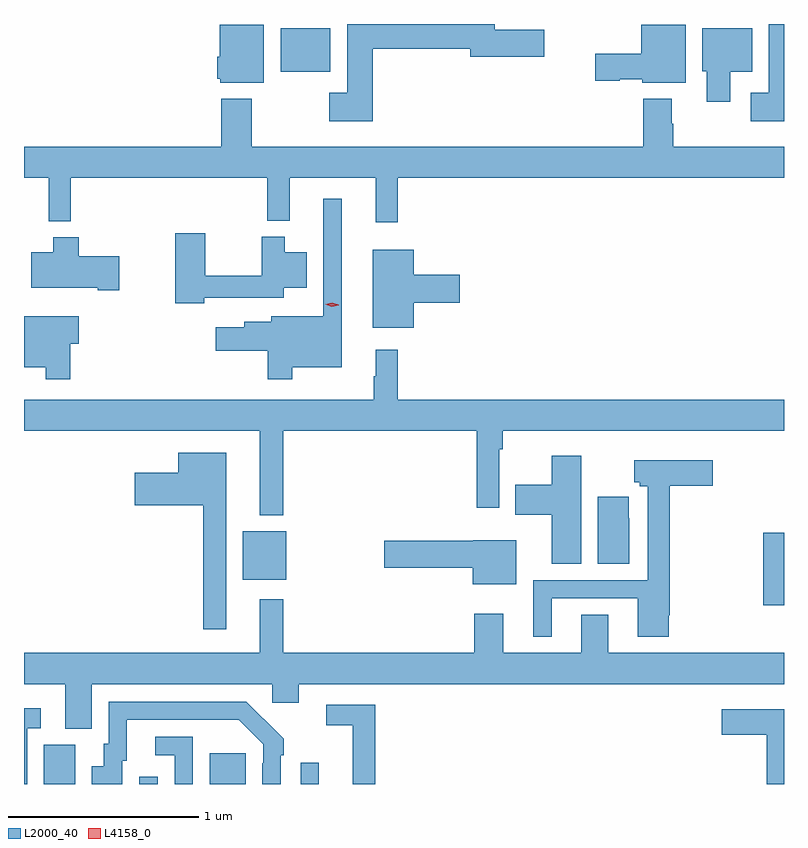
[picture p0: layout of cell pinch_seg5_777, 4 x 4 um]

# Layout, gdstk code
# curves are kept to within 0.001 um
import gdstk
lib = gdstk.Library(unit=1e-6, precision=1e-09)
def R(c, l, rs):  # rectangles x0, y0, x1, y1
    for r in rs: c.add(gdstk.rectangle(r[:2], r[2:], *l))
def P(c, l, *ps):  # polygons
    for p in ps: c.add(gdstk.Polygon(p, *l))
L2000_40 = (2000, 40)
L4158_0 = (4158, 0)

pinch_seg5_777 = lib.new_cell('pinch_seg5_777')
R(pinch_seg5_777, L2000_40, [(794.912,893.53,795.076,893.736), (795.414,893.53,795.51,893.569), (795.785,893.53,795.973,893.692), (796.263,893.53,796.359,893.641), (798.698,894.471,798.807,894.852), (795.959,894.605,796.186,894.859), (796.157,897.278,796.42,897.508)])
P(pinch_seg5_777, L2000_40, [(796.643,897.4),(797.156,897.4),(797.156,897.358),(797.545,897.358),(797.545,897.5),(797.284,897.5),(797.284,897.53),(796.508,897.53),(796.508,897.169),(796.413,897.169),(796.413,897.017),(796.643,897.017)],
  [(798.807,897.53),(798.728,897.53),(798.728,897.169),(798.633,897.169),(798.633,897.017),(798.807,897.017)],
  [(798.289,897.526),(798.056,897.526),(798.056,897.374),(797.814,897.374),(797.814,897.232),(797.943,897.232),(797.943,897.239),(798.06,897.239),(798.06,897.221),(798.289,897.221)],
  [(796.069,897.526),(795.836,897.526),(795.836,897.357),(795.824,897.357),(795.824,897.243),(795.84,897.243),(795.84,897.221),(796.069,897.221)],
  [(798.523,897.278),(798.64,897.278),(798.64,897.508),(798.377,897.508),(798.377,897.282),(798.401,897.282),(798.401,897.12),(798.523,897.12)],
  [(796.775,896.72),(798.807,896.72),(798.807,896.884),(798.225,896.884),(798.225,897.005),(798.217,897.005),(798.217,897.136),(798.065,897.136),(798.065,896.884),(796.005,896.884),(796.005,897.136),(795.845,897.136),(795.845,896.884),(794.807,896.884),(794.807,896.72),(794.936,896.72),(794.936,896.492),(795.053,896.492),(795.053,896.72),(796.087,896.72),(796.087,896.495),(796.205,896.495),(796.205,896.72),(796.658,896.72),(796.658,896.487),(796.775,896.487)],
  [(796.219,895.724),(796.48,895.724),(796.48,896.611),(796.383,896.611),(796.383,895.993),(796.109,895.993),(796.109,895.963),(795.965,895.963),(795.965,895.933),(795.816,895.933),(795.816,895.811),(796.09,895.811),(796.09,895.659),(796.219,895.659)],
  [(795.756,896.088),(796.174,896.088),(796.174,896.141),(796.294,896.141),(796.294,896.329),(796.18,896.329),(796.18,896.41),(796.058,896.41),(796.058,896.204),(795.76,896.204),(795.76,896.428),(795.602,896.428),(795.602,896.06),(795.756,896.06)],
  [(795.307,896.307),(795.095,896.307),(795.095,896.407),(794.96,896.407),(794.96,896.329),(794.846,896.329),(794.846,896.141),(795.194,896.141),(795.194,896.129),(795.307,896.129)],
  [(796.858,896.063),(797.101,896.063),(797.101,896.21),(796.858,896.21),(796.858,896.341),(796.643,896.341),(796.643,895.931),(796.858,895.931)],
  [(795.05,895.846),(795.094,895.846),(795.094,895.993),(794.807,895.993),(794.807,895.724),(794.922,895.724),(794.922,895.659),(795.05,895.659)],
  [(796.171,895.388),(797.191,895.388),(797.191,894.984),(797.307,894.984),(797.307,895.292),(797.327,895.292),(797.327,895.388),(798.807,895.388),(798.807,895.552),(796.775,895.552),(796.775,895.816),(796.658,895.816),(796.658,895.676),(796.647,895.676),(796.647,895.552),(794.807,895.552),(794.807,895.388),(796.049,895.388),(796.049,894.944),(796.171,894.944)],
  [(795.871,895.273),(795.62,895.273),(795.62,895.168),(795.39,895.168),(795.39,894.998),(795.75,894.998),(795.75,894.345),(795.871,894.345)],
  [(797.74,895.258),(797.585,895.258),(797.585,895.105),(797.392,895.105),(797.392,894.947),(797.585,894.947),(797.585,894.688),(797.74,894.688)],
  [(797.584,894.507),(798.038,894.507),(798.038,894.306),(798.2,894.306),(798.2,894.418),(798.206,894.418),(798.206,895.1),(798.433,895.1),(798.433,895.234),(798.019,895.234),(798.019,895.117),(798.048,895.117),(798.048,895.098),(798.09,895.098),(798.09,894.603),(797.486,894.603),(797.486,894.306),(797.584,894.306)],
  [(797.992,894.929),(797.99,894.929),(797.99,895.042),(797.828,895.042),(797.828,894.688),(797.992,894.688)],
  [(797.398,894.814),(797.172,894.814),(797.172,894.809),(796.704,894.809),(796.704,894.667),(797.168,894.667),(797.168,894.581),(797.398,894.581)],
  [(795.163,894.056),(796.113,894.056),(796.113,893.958),(796.252,893.958),(796.252,894.056),(798.807,894.056),(798.807,894.22),(797.881,894.22),(797.881,894.422),(797.741,894.422),(797.741,894.22),(797.329,894.22),(797.329,894.427),(797.177,894.427),(797.177,894.22),(796.171,894.22),(796.171,894.502),(796.049,894.502),(796.049,894.22),(794.807,894.22),(794.807,894.056),(795.023,894.056),(795.023,893.821),(795.163,893.821)],
  [(795.325,893.652),(795.349,893.652),(795.349,893.868),(795.937,893.868),(796.065,893.739),(796.065,893.639),(796.062,893.639),(796.062,893.53),(796.158,893.53),(796.158,893.681),(796.173,893.681),(796.173,893.769),(795.976,893.964),(795.252,893.964),(795.252,893.742),(795.227,893.742),(795.227,893.623),(795.164,893.623),(795.164,893.53),(795.325,893.53)],
  [(796.655,893.946),(796.398,893.946),(796.398,893.838),(796.538,893.838),(796.538,893.53),(796.655,893.53)],
  [(794.823,893.823),(794.896,893.823),(794.896,893.929),(794.807,893.929),(794.807,893.53),(794.823,893.53)],
  [(798.807,893.923),(798.48,893.923),(798.48,893.789),(798.716,893.789),(798.716,893.53),(798.807,893.53)],
  [(795.696,893.778),(795.498,893.778),(795.498,893.682),(795.6,893.682),(795.6,893.53),(795.696,893.53)])
P(pinch_seg5_777, L4158_0, [(796.428,896.043),(796.393,896.054),(796.393,896.055),(796.393,896.055),(796.429,896.063),(796.464,896.052),(796.464,896.051),(796.464,896.051)])

lib.write_gds('pinch_seg5_777.gds')
